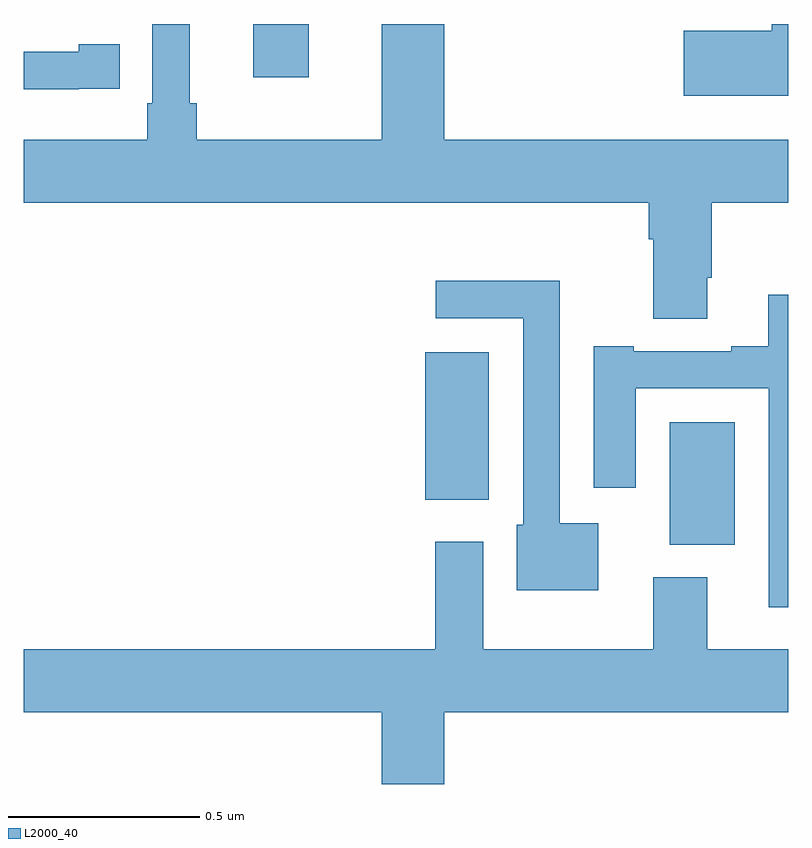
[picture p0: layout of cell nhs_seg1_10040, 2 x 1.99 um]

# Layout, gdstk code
import gdstk
lib = gdstk.Library(unit=1e-6, precision=1e-09)
def R(c, l, rs):  # rectangles x0, y0, x1, y1
    for r in rs: c.add(gdstk.rectangle(r[:2], r[2:], *l))
def P(c, l, *ps):  # polygons
    for p in ps: c.add(gdstk.Polygon(p, *l))
L2000_40 = (2000, 40)

nhs_seg1_10040 = lib.new_cell('nhs_seg1_10040')
R(nhs_seg1_10040, L2000_40, [(237.689,550.838,237.859,551.158), (237.05,550.955,237.217,551.341), (236.6,552.06,236.746,552.199)])
P(nhs_seg1_10040, L2000_40, [(237.787,551.536),(237.8,551.536),(237.8,551.732),(238,551.732),(238,551.896),(237.1,551.896),(237.1,552.199),(236.936,552.199),(236.936,551.896),(236.453,551.896),(236.453,551.992),(236.434,551.992),(236.434,552.199),(236.337,552.199),(236.337,551.992),(236.324,551.992),(236.324,551.896),(236,551.896),(236,551.732),(237.635,551.732),(237.635,551.636),(237.647,551.636),(237.647,551.428),(237.787,551.428)],
  [(238,552.199),(237.956,552.199),(237.956,552.182),(237.726,552.182),(237.726,552.011),(238,552.011)],
  [(236.144,552.03),(236.252,552.03),(236.252,552.146),(236.144,552.146),(236.144,552.126),(236,552.126),(236,552.029),(236.144,552.029)],
  [(237.502,550.894),(237.402,550.894),(237.402,551.528),(237.078,551.528),(237.078,551.43),(237.306,551.43),(237.306,550.89),(237.29,550.89),(237.29,550.718),(237.502,550.718)],
  [(238,551.491),(237.947,551.491),(237.947,551.356),(237.851,551.356),(237.851,551.343),(237.595,551.343),(237.595,551.356),(237.491,551.356),(237.491,550.986),(237.601,550.986),(237.601,551.247),(237.948,551.247),(237.948,550.674),(238,550.674)],
  [(237.1,550.4),(238,550.4),(238,550.564),(237.787,550.564),(237.787,550.753),(237.647,550.753),(237.647,550.564),(237.202,550.564),(237.202,550.846),(237.077,550.846),(237.077,550.564),(236,550.564),(236,550.4),(236.936,550.4),(236.936,550.212),(237.1,550.212)])

lib.write_gds('nhs_seg1_10040.gds')
